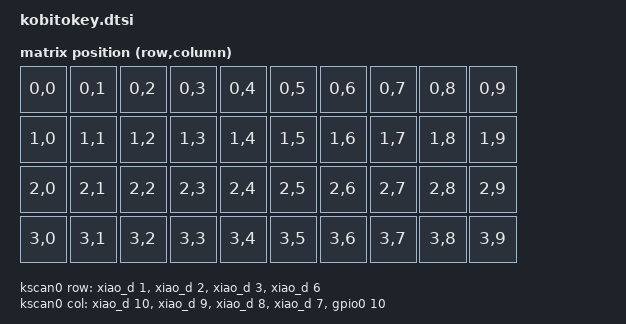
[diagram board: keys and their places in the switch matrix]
#include <dt-bindings/zmk/matrix_transform.h>
#include <dt-bindings/zmk/input_transform.h>
#include <zephyr/dt-bindings/input/input-event-codes.h>
#include <input/processors.dtsi>
#include "KobitoKey-layouts.dtsi"

/ {
    /* 行列スキャン：rowは左右共通、colは左右で分ける */
    kscan0: kscan0 {
        compatible = "zmk,kscan-gpio-matrix";
        diode-direction = "col2row";
        wakeup-source;

        /* Dピンは &xiao_d <番号> で指定（XIAOフォーマット） */
        row-gpios = <&xiao_d 1 (GPIO_ACTIVE_HIGH | GPIO_PULL_DOWN)>, /* 例: D0 */
                    <&xiao_d 2 (GPIO_ACTIVE_HIGH | GPIO_PULL_DOWN)>, /* 例: D1 */
                    <&xiao_d 3 (GPIO_ACTIVE_HIGH | GPIO_PULL_DOWN)>, /* 例: D2 */
                    <&xiao_d 6 (GPIO_ACTIVE_HIGH | GPIO_PULL_DOWN)>; /* 例: D3 */
        col-gpios = <&xiao_d 10 GPIO_ACTIVE_HIGH>, 
                    <&xiao_d 9 GPIO_ACTIVE_HIGH> , 
                    <&xiao_d 8 GPIO_ACTIVE_HIGH> , 
                    <&xiao_d 7 GPIO_ACTIVE_HIGH> , 
                    <&gpio0 10 GPIO_ACTIVE_HIGH> ; 
    };

    /* 左右合体で 4行×10列（左0..4, 右5..9） */
    default_transform: keymap_transform0 {
        compatible = "zmk,matrix-transform";
        rows = <4>;
        columns = <10>;
        map = <
            RC(0,0) RC(0,1) RC(0,2) RC(0,3) RC(0,4)   RC(0,5) RC(0,6) RC(0,7) RC(0,8) RC(0,9)
            RC(1,0) RC(1,1) RC(1,2) RC(1,3) RC(1,4)   RC(1,5) RC(1,6) RC(1,7) RC(1,8) RC(1,9)
            RC(2,0) RC(2,1) RC(2,2) RC(2,3) RC(2,4)   RC(2,5) RC(2,6) RC(2,7) RC(2,8) RC(2,9)
            RC(3,0) RC(3,1) RC(3,2) RC(3,3) RC(3,4)   RC(3,5) RC(3,6) RC(3,7) RC(3,8) RC(3,9)
        >;
    };

    /* リモート側（周辺側）からの入力を受けるための定義 */
    split_inputs {
        #address-cells = <1>;
        #size-cells = <0>;

        tb_split: tb_split@0 {
            compatible = "zmk,input-split";
            reg = <0>;
        };
    };

    /* リスナー：中央側で有効化する */
    tb_left_listener: tb_left_listener {
        compatible = "zmk,input-listener";
        status = "disabled";
    };

    tb_right_listener: tb_right_listener {
        compatible = "zmk,input-listener";
        status = "disabled";
    };

    /* トラックボールの回転補正 */
    sensor_rotation_left: sensor_rotation_left {
        compatible = "zmk,input-processor-sensor-rotation";
        status = "okay";
        #input-processor-cells = <0>;
        rotation-angle = <(-24)>;
    };

    sensor_rotation_right: sensor_rotation_right {
        compatible = "zmk,input-processor-sensor-rotation";
        #input-processor-cells = <0>;
        status = "okay";
        rotation-angle = <24>;
    };

    /* オートマウスレイヤー用プロセッサ */
    /omit-if-no-ref/ zip_temp_layer: zip_temp_layer {
        compatible = "zmk,input-processor-temp-layer";
        #input-processor-cells = <2>;
        require-prior-idle-ms = <350>;
    };
};

&zip_temp_layer {
    excluded-positions = <6 7 8 30 32 33 39>;
};

/ {
    chosen {
        zmk,physical-layout = &kobitokey_layout;
    };
};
